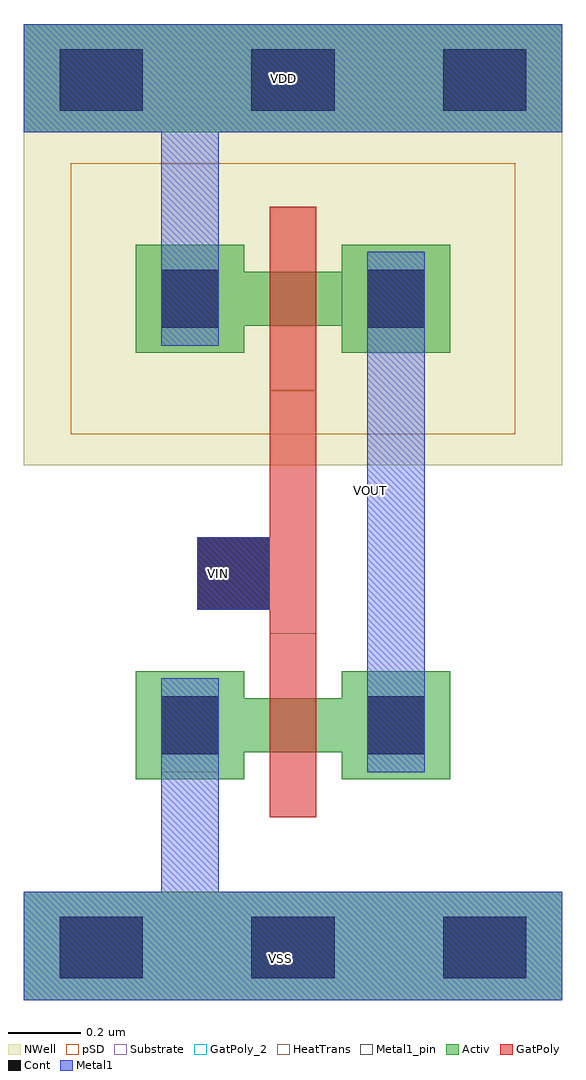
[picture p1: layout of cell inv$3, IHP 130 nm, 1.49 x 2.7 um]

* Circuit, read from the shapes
.subckt inv$3 VDD VIN VOUT VSS
XM1 VOUT VIN VSS VSS sg13_lv_nmos w=0.15u l=0.13u
XM2 VOUT VIN VDD VDD sg13_lv_pmos w=0.15u l=0.13u
.ends

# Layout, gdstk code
import gdstk
lib = gdstk.Library(unit=1e-6, precision=5e-09)
def R(c, l, rs):  # rectangles x0, y0, x1, y1
    for r in rs: c.add(gdstk.rectangle(r[:2], r[2:], *l))
Activ = (1, 0)
GatPoly = (5, 0)
GatPoly_2 = (5, 2)
Cont = (6, 0)
Metal1 = (8, 0)
Metal1_pin = (8, 2)
pSD = (14, 0)
NWell = (31, 0)
Substrate = (40, 0)
HeatTrans = (51, 0)

pmos_1_26 = lib.new_cell('pmos$1$26')
R(pmos_1_26, Activ, [(0,0,0.3,0.3), (0.57,0,0.87,0.3), (0,0.075,0.87,0.225)])
R(pmos_1_26, GatPoly, [(0.37,-0.105,0.5,0.405), (0.37,-0.105,0.5,0.405)])
R(pmos_1_26, Cont, [(0.07,0.07,0.23,0.23), (0.64,0.07,0.8,0.23)])
R(pmos_1_26, Metal1, [(0.07,0.02,0.23,0.28), (0.07,0.02,0.23,0.28), (0.64,0.02,0.8,0.28), (0.64,0.02,0.8,0.28)])
R(pmos_1_26, pSD, [(-0.18,-0.225,1.05,0.525)])
R(pmos_1_26, NWell, [(-0.31,-0.31,1.18,0.61)])
R(pmos_1_26, Substrate, [(0.57,0,0.87,0.3)])
R(pmos_1_26, HeatTrans, [(0.37,-0.105,0.5,0.405)])
pmos_1_26.add(gdstk.Label('pmos', (0.435,0.15), layer=63, texttype=0))
pmos_1_26.add(gdstk.Label('pmos', (0.435,0.15), layer=51, texttype=0))

nmos_1_18 = lib.new_cell('nmos$1$18')
R(nmos_1_18, Activ, [(0,0,0.3,0.3), (0.57,0,0.87,0.3), (0,0.075,0.87,0.225)])
R(nmos_1_18, GatPoly, [(0.37,-0.105,0.5,0.405)])
R(nmos_1_18, GatPoly_2, [(0.37,-0.105,0.5,0.405)])
R(nmos_1_18, Cont, [(0.07,0.07,0.23,0.23), (0.64,0.07,0.8,0.23)])
R(nmos_1_18, Metal1, [(0.07,0.02,0.23,0.28), (0.64,0.02,0.8,0.28)])
R(nmos_1_18, Metal1_pin, [(0.07,0.02,0.23,0.28), (0.64,0.02,0.8,0.28)])
R(nmos_1_18, HeatTrans, [(0.37,-0.105,0.5,0.405)])
nmos_1_18.add(gdstk.Label('nmos', (0.435,0.15), layer=63, texttype=0))
nmos_1_18.add(gdstk.Label('nmos', (0.435,0.15), layer=51, texttype=0))

pmos_1_1_14 = lib.new_cell('pmos$1$1$14')
R(pmos_1_1_14, Activ, [(0,0,0.3,0.3), (0.57,0,0.87,0.3), (0,0.075,0.87,0.225)])
R(pmos_1_1_14, GatPoly, [(0.37,-0.105,0.5,0.405), (0.37,-0.105,0.5,0.405)])
R(pmos_1_1_14, Cont, [(0.07,0.07,0.23,0.23), (0.64,0.07,0.8,0.23)])
R(pmos_1_1_14, Metal1, [(0.07,0.02,0.23,0.28), (0.07,0.02,0.23,0.28), (0.64,0.02,0.8,0.28), (0.64,0.02,0.8,0.28)])
R(pmos_1_1_14, pSD, [(-0.18,-0.225,1.05,0.525)])
R(pmos_1_1_14, NWell, [(-0.31,-0.31,1.18,0.61)])
R(pmos_1_1_14, Substrate, [(0.57,0,0.87,0.3)])
R(pmos_1_1_14, HeatTrans, [(0.37,-0.105,0.5,0.405)])
pmos_1_1_14.add(gdstk.Label('pmos', (0.435,0.15), layer=63, texttype=0))
pmos_1_1_14.add(gdstk.Label('pmos', (0.435,0.15), layer=51, texttype=0))

nmos_1_1_5 = lib.new_cell('nmos$1$1$5')
R(nmos_1_1_5, Activ, [(0,0,0.3,0.3), (0.57,0,0.87,0.3), (0,0.075,0.87,0.225)])
R(nmos_1_1_5, GatPoly, [(0.37,-0.105,0.5,0.405)])
R(nmos_1_1_5, GatPoly_2, [(0.37,-0.105,0.5,0.405)])
R(nmos_1_1_5, Cont, [(0.07,0.07,0.23,0.23), (0.64,0.07,0.8,0.23)])
R(nmos_1_1_5, Metal1, [(0.07,0.02,0.23,0.28), (0.64,0.02,0.8,0.28)])
R(nmos_1_1_5, Metal1_pin, [(0.07,0.02,0.23,0.28), (0.64,0.02,0.8,0.28)])
R(nmos_1_1_5, HeatTrans, [(0.37,-0.105,0.5,0.405)])
nmos_1_1_5.add(gdstk.Label('nmos', (0.435,0.15), layer=63, texttype=0))
nmos_1_1_5.add(gdstk.Label('nmos', (0.435,0.15), layer=51, texttype=0))

pmos_1_2_8 = lib.new_cell('pmos$1$2$8')
R(pmos_1_2_8, Activ, [(0,0,0.3,0.3), (0.57,0,0.87,0.3), (0,0.075,0.87,0.225)])
R(pmos_1_2_8, GatPoly, [(0.37,-0.105,0.5,0.405), (0.37,-0.105,0.5,0.405)])
R(pmos_1_2_8, Cont, [(0.07,0.07,0.23,0.23), (0.64,0.07,0.8,0.23)])
R(pmos_1_2_8, Metal1, [(0.07,0.02,0.23,0.28), (0.07,0.02,0.23,0.28), (0.64,0.02,0.8,0.28), (0.64,0.02,0.8,0.28)])
R(pmos_1_2_8, pSD, [(-0.18,-0.225,1.05,0.525)])
R(pmos_1_2_8, NWell, [(-0.31,-0.31,1.18,0.61)])
R(pmos_1_2_8, Substrate, [(0.57,0,0.87,0.3)])
R(pmos_1_2_8, HeatTrans, [(0.37,-0.105,0.5,0.405)])
pmos_1_2_8.add(gdstk.Label('pmos', (0.435,0.15), layer=63, texttype=0))
pmos_1_2_8.add(gdstk.Label('pmos', (0.435,0.15), layer=51, texttype=0))

nmos_3_9 = lib.new_cell('nmos$3$9')
R(nmos_3_9, Activ, [(0,0,0.3,0.3), (0.57,0,0.87,0.3), (0,0.075,0.87,0.225)])
R(nmos_3_9, GatPoly, [(0.37,-0.105,0.5,0.405)])
R(nmos_3_9, GatPoly_2, [(0.37,-0.105,0.5,0.405)])
R(nmos_3_9, Cont, [(0.07,0.07,0.23,0.23), (0.64,0.07,0.8,0.23)])
R(nmos_3_9, Metal1, [(0.07,0.02,0.23,0.28), (0.64,0.02,0.8,0.28)])
R(nmos_3_9, Metal1_pin, [(0.07,0.02,0.23,0.28), (0.64,0.02,0.8,0.28)])
R(nmos_3_9, HeatTrans, [(0.37,-0.105,0.5,0.405)])
nmos_3_9.add(gdstk.Label('nmos', (0.435,0.15), layer=63, texttype=0))
nmos_3_9.add(gdstk.Label('nmos', (0.435,0.15), layer=51, texttype=0))

pmos_1_1_1_4 = lib.new_cell('pmos$1$1$1$4')
R(pmos_1_1_1_4, Activ, [(0,0,0.3,0.3), (0.57,0,0.87,0.3), (0,0.075,0.87,0.225)])
R(pmos_1_1_1_4, GatPoly, [(0.37,-0.105,0.5,0.405), (0.37,-0.105,0.5,0.405)])
R(pmos_1_1_1_4, Cont, [(0.07,0.07,0.23,0.23), (0.64,0.07,0.8,0.23)])
R(pmos_1_1_1_4, Metal1, [(0.07,0.02,0.23,0.28), (0.07,0.02,0.23,0.28), (0.64,0.02,0.8,0.28), (0.64,0.02,0.8,0.28)])
R(pmos_1_1_1_4, pSD, [(-0.18,-0.225,1.05,0.525)])
R(pmos_1_1_1_4, NWell, [(-0.31,-0.31,1.18,0.61)])
R(pmos_1_1_1_4, Substrate, [(0.57,0,0.87,0.3)])
R(pmos_1_1_1_4, HeatTrans, [(0.37,-0.105,0.5,0.405)])
pmos_1_1_1_4.add(gdstk.Label('pmos', (0.435,0.15), layer=63, texttype=0))
pmos_1_1_1_4.add(gdstk.Label('pmos', (0.435,0.15), layer=51, texttype=0))

nmos_1_2_4 = lib.new_cell('nmos$1$2$4')
R(nmos_1_2_4, Activ, [(0,0,0.3,0.3), (0.57,0,0.87,0.3), (0,0.075,0.87,0.225)])
R(nmos_1_2_4, GatPoly, [(0.37,-0.105,0.5,0.405)])
R(nmos_1_2_4, GatPoly_2, [(0.37,-0.105,0.5,0.405)])
R(nmos_1_2_4, Cont, [(0.07,0.07,0.23,0.23), (0.64,0.07,0.8,0.23)])
R(nmos_1_2_4, Metal1, [(0.07,0.02,0.23,0.28), (0.64,0.02,0.8,0.28)])
R(nmos_1_2_4, Metal1_pin, [(0.07,0.02,0.23,0.28), (0.64,0.02,0.8,0.28)])
R(nmos_1_2_4, HeatTrans, [(0.37,-0.105,0.5,0.405)])
nmos_1_2_4.add(gdstk.Label('nmos', (0.435,0.15), layer=63, texttype=0))
nmos_1_2_4.add(gdstk.Label('nmos', (0.435,0.15), layer=51, texttype=0))

pmos_1_2_1_5 = lib.new_cell('pmos$1$2$1$5')
R(pmos_1_2_1_5, Activ, [(0,0,0.3,0.3), (0.57,0,0.87,0.3), (0,0.075,0.87,0.225)])
R(pmos_1_2_1_5, GatPoly, [(0.37,-0.105,0.5,0.405), (0.37,-0.105,0.5,0.405)])
R(pmos_1_2_1_5, Cont, [(0.07,0.07,0.23,0.23), (0.64,0.07,0.8,0.23)])
R(pmos_1_2_1_5, Metal1, [(0.07,0.02,0.23,0.28), (0.07,0.02,0.23,0.28), (0.64,0.02,0.8,0.28), (0.64,0.02,0.8,0.28)])
R(pmos_1_2_1_5, pSD, [(-0.18,-0.225,1.05,0.525)])
R(pmos_1_2_1_5, NWell, [(-0.31,-0.31,1.18,0.61)])
R(pmos_1_2_1_5, Substrate, [(0.57,0,0.87,0.3)])
R(pmos_1_2_1_5, HeatTrans, [(0.37,-0.105,0.5,0.405)])
pmos_1_2_1_5.add(gdstk.Label('pmos', (0.435,0.15), layer=63, texttype=0))
pmos_1_2_1_5.add(gdstk.Label('pmos', (0.435,0.15), layer=51, texttype=0))

nmos_2_1_4 = lib.new_cell('nmos$2$1$4')
R(nmos_2_1_4, Activ, [(0,0,0.3,0.3), (0.57,0,0.87,0.3), (0,0.075,0.87,0.225)])
R(nmos_2_1_4, GatPoly, [(0.37,-0.105,0.5,0.405)])
R(nmos_2_1_4, GatPoly_2, [(0.37,-0.105,0.5,0.405)])
R(nmos_2_1_4, Cont, [(0.07,0.07,0.23,0.23), (0.64,0.07,0.8,0.23)])
R(nmos_2_1_4, Metal1, [(0.07,0.02,0.23,0.28), (0.64,0.02,0.8,0.28)])
R(nmos_2_1_4, Metal1_pin, [(0.07,0.02,0.23,0.28), (0.64,0.02,0.8,0.28)])
R(nmos_2_1_4, HeatTrans, [(0.37,-0.105,0.5,0.405)])
nmos_2_1_4.add(gdstk.Label('nmos', (0.435,0.15), layer=63, texttype=0))
nmos_2_1_4.add(gdstk.Label('nmos', (0.435,0.15), layer=51, texttype=0))

pmos_1_1_1_1_3 = lib.new_cell('pmos$1$1$1$1$3')
R(pmos_1_1_1_1_3, Activ, [(0,0,0.3,0.3), (0.57,0,0.87,0.3), (0,0.075,0.87,0.225)])
R(pmos_1_1_1_1_3, GatPoly, [(0.37,-0.105,0.5,0.405), (0.37,-0.105,0.5,0.405)])
R(pmos_1_1_1_1_3, Cont, [(0.07,0.07,0.23,0.23), (0.64,0.07,0.8,0.23)])
R(pmos_1_1_1_1_3, Metal1, [(0.07,0.02,0.23,0.28), (0.07,0.02,0.23,0.28), (0.64,0.02,0.8,0.28), (0.64,0.02,0.8,0.28)])
R(pmos_1_1_1_1_3, pSD, [(-0.18,-0.225,1.05,0.525)])
R(pmos_1_1_1_1_3, NWell, [(-0.31,-0.31,1.18,0.61)])
R(pmos_1_1_1_1_3, Substrate, [(0.57,0,0.87,0.3)])
R(pmos_1_1_1_1_3, HeatTrans, [(0.37,-0.105,0.5,0.405)])
pmos_1_1_1_1_3.add(gdstk.Label('pmos', (0.435,0.15), layer=63, texttype=0))
pmos_1_1_1_1_3.add(gdstk.Label('pmos', (0.435,0.15), layer=51, texttype=0))

nmos_1_1_1_3 = lib.new_cell('nmos$1$1$1$3')
R(nmos_1_1_1_3, Activ, [(0,0,0.3,0.3), (0.57,0,0.87,0.3), (0,0.075,0.87,0.225)])
R(nmos_1_1_1_3, GatPoly, [(0.37,-0.105,0.5,0.405)])
R(nmos_1_1_1_3, GatPoly_2, [(0.37,-0.105,0.5,0.405)])
R(nmos_1_1_1_3, Cont, [(0.07,0.07,0.23,0.23), (0.64,0.07,0.8,0.23)])
R(nmos_1_1_1_3, Metal1, [(0.07,0.02,0.23,0.28), (0.64,0.02,0.8,0.28)])
R(nmos_1_1_1_3, Metal1_pin, [(0.07,0.02,0.23,0.28), (0.64,0.02,0.8,0.28)])
R(nmos_1_1_1_3, HeatTrans, [(0.37,-0.105,0.5,0.405)])
nmos_1_1_1_3.add(gdstk.Label('nmos', (0.435,0.15), layer=63, texttype=0))
nmos_1_1_1_3.add(gdstk.Label('nmos', (0.435,0.15), layer=51, texttype=0))

pmos_1_4_4 = lib.new_cell('pmos$1$4$4')
R(pmos_1_4_4, Activ, [(0,0,0.3,0.3), (0.57,0,0.87,0.3), (0,0.075,0.87,0.225)])
R(pmos_1_4_4, GatPoly, [(0.37,-0.105,0.5,0.405), (0.37,-0.105,0.5,0.405)])
R(pmos_1_4_4, Cont, [(0.07,0.07,0.23,0.23), (0.64,0.07,0.8,0.23)])
R(pmos_1_4_4, Metal1, [(0.07,0.02,0.23,0.28), (0.07,0.02,0.23,0.28), (0.64,0.02,0.8,0.28), (0.64,0.02,0.8,0.28)])
R(pmos_1_4_4, pSD, [(-0.18,-0.225,1.05,0.525)])
R(pmos_1_4_4, NWell, [(-0.31,-0.31,1.18,0.61)])
R(pmos_1_4_4, Substrate, [(0.57,0,0.87,0.3)])
R(pmos_1_4_4, HeatTrans, [(0.37,-0.105,0.5,0.405)])
pmos_1_4_4.add(gdstk.Label('pmos', (0.435,0.15), layer=63, texttype=0))
pmos_1_4_4.add(gdstk.Label('pmos', (0.435,0.15), layer=51, texttype=0))

nmos_4_5 = lib.new_cell('nmos$4$5')
R(nmos_4_5, Activ, [(0,0,0.3,0.3), (0.57,0,0.87,0.3), (0,0.075,0.87,0.225)])
R(nmos_4_5, GatPoly, [(0.37,-0.105,0.5,0.405)])
R(nmos_4_5, GatPoly_2, [(0.37,-0.105,0.5,0.405)])
R(nmos_4_5, Cont, [(0.07,0.07,0.23,0.23), (0.64,0.07,0.8,0.23)])
R(nmos_4_5, Metal1, [(0.07,0.02,0.23,0.28), (0.64,0.02,0.8,0.28)])
R(nmos_4_5, Metal1_pin, [(0.07,0.02,0.23,0.28), (0.64,0.02,0.8,0.28)])
R(nmos_4_5, HeatTrans, [(0.37,-0.105,0.5,0.405)])
nmos_4_5.add(gdstk.Label('nmos', (0.435,0.15), layer=63, texttype=0))
nmos_4_5.add(gdstk.Label('nmos', (0.435,0.15), layer=51, texttype=0))

pmos_1_1_2_3 = lib.new_cell('pmos$1$1$2$3')
R(pmos_1_1_2_3, Activ, [(0,0,0.3,0.3), (0.57,0,0.87,0.3), (0,0.075,0.87,0.225)])
R(pmos_1_1_2_3, GatPoly, [(0.37,-0.105,0.5,0.405), (0.37,-0.105,0.5,0.405)])
R(pmos_1_1_2_3, Cont, [(0.07,0.07,0.23,0.23), (0.64,0.07,0.8,0.23)])
R(pmos_1_1_2_3, Metal1, [(0.07,0.02,0.23,0.28), (0.07,0.02,0.23,0.28), (0.64,0.02,0.8,0.28), (0.64,0.02,0.8,0.28)])
R(pmos_1_1_2_3, pSD, [(-0.18,-0.225,1.05,0.525)])
R(pmos_1_1_2_3, NWell, [(-0.31,-0.31,1.18,0.61)])
R(pmos_1_1_2_3, Substrate, [(0.57,0,0.87,0.3)])
R(pmos_1_1_2_3, HeatTrans, [(0.37,-0.105,0.5,0.405)])
pmos_1_1_2_3.add(gdstk.Label('pmos', (0.435,0.15), layer=63, texttype=0))
pmos_1_1_2_3.add(gdstk.Label('pmos', (0.435,0.15), layer=51, texttype=0))

nmos_1_2_1_2 = lib.new_cell('nmos$1$2$1$2')
R(nmos_1_2_1_2, Activ, [(0,0,0.3,0.3), (0.57,0,0.87,0.3), (0,0.075,0.87,0.225)])
R(nmos_1_2_1_2, GatPoly, [(0.37,-0.105,0.5,0.405)])
R(nmos_1_2_1_2, GatPoly_2, [(0.37,-0.105,0.5,0.405)])
R(nmos_1_2_1_2, Cont, [(0.07,0.07,0.23,0.23), (0.64,0.07,0.8,0.23)])
R(nmos_1_2_1_2, Metal1, [(0.07,0.02,0.23,0.28), (0.64,0.02,0.8,0.28)])
R(nmos_1_2_1_2, Metal1_pin, [(0.07,0.02,0.23,0.28), (0.64,0.02,0.8,0.28)])
R(nmos_1_2_1_2, HeatTrans, [(0.37,-0.105,0.5,0.405)])
nmos_1_2_1_2.add(gdstk.Label('nmos', (0.435,0.15), layer=63, texttype=0))
nmos_1_2_1_2.add(gdstk.Label('nmos', (0.435,0.15), layer=51, texttype=0))

pmos_1_2_1_1_2 = lib.new_cell('pmos$1$2$1$1$2')
R(pmos_1_2_1_1_2, Activ, [(0,0,0.3,0.3), (0.57,0,0.87,0.3), (0,0.075,0.87,0.225)])
R(pmos_1_2_1_1_2, GatPoly, [(0.37,-0.105,0.5,0.405), (0.37,-0.105,0.5,0.405)])
R(pmos_1_2_1_1_2, Cont, [(0.07,0.07,0.23,0.23), (0.64,0.07,0.8,0.23)])
R(pmos_1_2_1_1_2, Metal1, [(0.07,0.02,0.23,0.28), (0.07,0.02,0.23,0.28), (0.64,0.02,0.8,0.28), (0.64,0.02,0.8,0.28)])
R(pmos_1_2_1_1_2, pSD, [(-0.18,-0.225,1.05,0.525)])
R(pmos_1_2_1_1_2, NWell, [(-0.31,-0.31,1.18,0.61)])
R(pmos_1_2_1_1_2, Substrate, [(0.57,0,0.87,0.3)])
R(pmos_1_2_1_1_2, HeatTrans, [(0.37,-0.105,0.5,0.405)])
pmos_1_2_1_1_2.add(gdstk.Label('pmos', (0.435,0.15), layer=63, texttype=0))
pmos_1_2_1_1_2.add(gdstk.Label('pmos', (0.435,0.15), layer=51, texttype=0))

nmos_2_1_1_2 = lib.new_cell('nmos$2$1$1$2')
R(nmos_2_1_1_2, Activ, [(0,0,0.3,0.3), (0.57,0,0.87,0.3), (0,0.075,0.87,0.225)])
R(nmos_2_1_1_2, GatPoly, [(0.37,-0.105,0.5,0.405)])
R(nmos_2_1_1_2, GatPoly_2, [(0.37,-0.105,0.5,0.405)])
R(nmos_2_1_1_2, Cont, [(0.07,0.07,0.23,0.23), (0.64,0.07,0.8,0.23)])
R(nmos_2_1_1_2, Metal1, [(0.07,0.02,0.23,0.28), (0.64,0.02,0.8,0.28)])
R(nmos_2_1_1_2, Metal1_pin, [(0.07,0.02,0.23,0.28), (0.64,0.02,0.8,0.28)])
R(nmos_2_1_1_2, HeatTrans, [(0.37,-0.105,0.5,0.405)])
nmos_2_1_1_2.add(gdstk.Label('nmos', (0.435,0.15), layer=63, texttype=0))
nmos_2_1_1_2.add(gdstk.Label('nmos', (0.435,0.15), layer=51, texttype=0))

pmos_1_3_7 = lib.new_cell('pmos$1$3$7')
R(pmos_1_3_7, Activ, [(0,0,0.3,0.3), (0.57,0,0.87,0.3), (0,0.075,0.87,0.225)])
R(pmos_1_3_7, GatPoly, [(0.37,-0.105,0.5,0.405), (0.37,-0.105,0.5,0.405)])
R(pmos_1_3_7, Cont, [(0.07,0.07,0.23,0.23), (0.64,0.07,0.8,0.23)])
R(pmos_1_3_7, Metal1, [(0.07,0.02,0.23,0.28), (0.07,0.02,0.23,0.28), (0.64,0.02,0.8,0.28), (0.64,0.02,0.8,0.28)])
R(pmos_1_3_7, pSD, [(-0.18,-0.225,1.05,0.525)])
R(pmos_1_3_7, NWell, [(-0.31,-0.31,1.18,0.61)])
R(pmos_1_3_7, Substrate, [(0.57,0,0.87,0.3)])
R(pmos_1_3_7, HeatTrans, [(0.37,-0.105,0.5,0.405)])
pmos_1_3_7.add(gdstk.Label('pmos', (0.435,0.15), layer=63, texttype=0))
pmos_1_3_7.add(gdstk.Label('pmos', (0.435,0.15), layer=51, texttype=0))

nmos_3_1_3 = lib.new_cell('nmos$3$1$3')
R(nmos_3_1_3, Activ, [(0,0,0.3,0.3), (0.57,0,0.87,0.3), (0,0.075,0.87,0.225)])
R(nmos_3_1_3, GatPoly, [(0.37,-0.105,0.5,0.405)])
R(nmos_3_1_3, GatPoly_2, [(0.37,-0.105,0.5,0.405)])
R(nmos_3_1_3, Cont, [(0.07,0.07,0.23,0.23), (0.64,0.07,0.8,0.23)])
R(nmos_3_1_3, Metal1, [(0.07,0.02,0.23,0.28), (0.64,0.02,0.8,0.28)])
R(nmos_3_1_3, Metal1_pin, [(0.07,0.02,0.23,0.28), (0.64,0.02,0.8,0.28)])
R(nmos_3_1_3, HeatTrans, [(0.37,-0.105,0.5,0.405)])
nmos_3_1_3.add(gdstk.Label('nmos', (0.435,0.15), layer=63, texttype=0))
nmos_3_1_3.add(gdstk.Label('nmos', (0.435,0.15), layer=51, texttype=0))

pmos_1_5_4 = lib.new_cell('pmos$1$5$4')
R(pmos_1_5_4, Activ, [(0,0,0.3,0.3), (0.57,0,0.87,0.3), (0,0.075,0.87,0.225)])
R(pmos_1_5_4, GatPoly, [(0.37,-0.105,0.5,0.405), (0.37,-0.105,0.5,0.405)])
R(pmos_1_5_4, Cont, [(0.07,0.07,0.23,0.23), (0.64,0.07,0.8,0.23)])
R(pmos_1_5_4, Metal1, [(0.07,0.02,0.23,0.28), (0.07,0.02,0.23,0.28), (0.64,0.02,0.8,0.28), (0.64,0.02,0.8,0.28)])
R(pmos_1_5_4, pSD, [(-0.18,-0.225,1.05,0.525)])
R(pmos_1_5_4, NWell, [(-0.31,-0.31,1.18,0.61)])
R(pmos_1_5_4, Substrate, [(0.57,0,0.87,0.3)])
R(pmos_1_5_4, HeatTrans, [(0.37,-0.105,0.5,0.405)])
pmos_1_5_4.add(gdstk.Label('pmos', (0.435,0.15), layer=63, texttype=0))
pmos_1_5_4.add(gdstk.Label('pmos', (0.435,0.15), layer=51, texttype=0))

nmos_9_2 = lib.new_cell('nmos$9$2')
R(nmos_9_2, Activ, [(0,0,0.3,0.3), (0.57,0,0.87,0.3), (0,0.075,0.87,0.225)])
R(nmos_9_2, GatPoly, [(0.37,-0.105,0.5,0.405)])
R(nmos_9_2, GatPoly_2, [(0.37,-0.105,0.5,0.405)])
R(nmos_9_2, Cont, [(0.07,0.07,0.23,0.23), (0.64,0.07,0.8,0.23)])
R(nmos_9_2, Metal1, [(0.07,0.02,0.23,0.28), (0.64,0.02,0.8,0.28)])
R(nmos_9_2, Metal1_pin, [(0.07,0.02,0.23,0.28), (0.64,0.02,0.8,0.28)])
R(nmos_9_2, HeatTrans, [(0.37,-0.105,0.5,0.405)])
nmos_9_2.add(gdstk.Label('nmos', (0.435,0.15), layer=63, texttype=0))
nmos_9_2.add(gdstk.Label('nmos', (0.435,0.15), layer=51, texttype=0))

pmos_1_6_3 = lib.new_cell('pmos$1$6$3')
R(pmos_1_6_3, Activ, [(0,0,0.3,0.3), (0.57,0,0.87,0.3), (0,0.075,0.87,0.225)])
R(pmos_1_6_3, GatPoly, [(0.37,-0.105,0.5,0.405), (0.37,-0.105,0.5,0.405)])
R(pmos_1_6_3, Cont, [(0.07,0.07,0.23,0.23), (0.64,0.07,0.8,0.23)])
R(pmos_1_6_3, Metal1, [(0.07,0.02,0.23,0.28), (0.07,0.02,0.23,0.28), (0.64,0.02,0.8,0.28), (0.64,0.02,0.8,0.28)])
R(pmos_1_6_3, pSD, [(-0.18,-0.225,1.05,0.525)])
R(pmos_1_6_3, NWell, [(-0.31,-0.31,1.18,0.61)])
R(pmos_1_6_3, Substrate, [(0.57,0,0.87,0.3)])
R(pmos_1_6_3, HeatTrans, [(0.37,-0.105,0.5,0.405)])
pmos_1_6_3.add(gdstk.Label('pmos', (0.435,0.15), layer=63, texttype=0))
pmos_1_6_3.add(gdstk.Label('pmos', (0.435,0.15), layer=51, texttype=0))

nmos_10_2 = lib.new_cell('nmos$10$2')
R(nmos_10_2, Activ, [(0,0,0.3,0.3), (0.57,0,0.87,0.3), (0,0.075,0.87,0.225)])
R(nmos_10_2, GatPoly, [(0.37,-0.105,0.5,0.405)])
R(nmos_10_2, GatPoly_2, [(0.37,-0.105,0.5,0.405)])
R(nmos_10_2, Cont, [(0.07,0.07,0.23,0.23), (0.64,0.07,0.8,0.23)])
R(nmos_10_2, Metal1, [(0.07,0.02,0.23,0.28), (0.64,0.02,0.8,0.28)])
R(nmos_10_2, Metal1_pin, [(0.07,0.02,0.23,0.28), (0.64,0.02,0.8,0.28)])
R(nmos_10_2, HeatTrans, [(0.37,-0.105,0.5,0.405)])
nmos_10_2.add(gdstk.Label('nmos', (0.435,0.15), layer=63, texttype=0))
nmos_10_2.add(gdstk.Label('nmos', (0.435,0.15), layer=51, texttype=0))

pmos_1_1_3_2 = lib.new_cell('pmos$1$1$3$2')
R(pmos_1_1_3_2, Activ, [(0,0,0.3,0.3), (0.57,0,0.87,0.3), (0,0.075,0.87,0.225)])
R(pmos_1_1_3_2, GatPoly, [(0.37,-0.105,0.5,0.405), (0.37,-0.105,0.5,0.405)])
R(pmos_1_1_3_2, Cont, [(0.07,0.07,0.23,0.23), (0.64,0.07,0.8,0.23)])
R(pmos_1_1_3_2, Metal1, [(0.07,0.02,0.23,0.28), (0.07,0.02,0.23,0.28), (0.64,0.02,0.8,0.28), (0.64,0.02,0.8,0.28)])
R(pmos_1_1_3_2, pSD, [(-0.18,-0.225,1.05,0.525)])
R(pmos_1_1_3_2, NWell, [(-0.31,-0.31,1.18,0.61)])
R(pmos_1_1_3_2, Substrate, [(0.57,0,0.87,0.3)])
R(pmos_1_1_3_2, HeatTrans, [(0.37,-0.105,0.5,0.405)])
pmos_1_1_3_2.add(gdstk.Label('pmos', (0.435,0.15), layer=63, texttype=0))
pmos_1_1_3_2.add(gdstk.Label('pmos', (0.435,0.15), layer=51, texttype=0))

nmos_1_3_2 = lib.new_cell('nmos$1$3$2')
R(nmos_1_3_2, Activ, [(0,0,0.3,0.3), (0.57,0,0.87,0.3), (0,0.075,0.87,0.225)])
R(nmos_1_3_2, GatPoly, [(0.37,-0.105,0.5,0.405)])
R(nmos_1_3_2, GatPoly_2, [(0.37,-0.105,0.5,0.405)])
R(nmos_1_3_2, Cont, [(0.07,0.07,0.23,0.23), (0.64,0.07,0.8,0.23)])
R(nmos_1_3_2, Metal1, [(0.07,0.02,0.23,0.28), (0.64,0.02,0.8,0.28)])
R(nmos_1_3_2, Metal1_pin, [(0.07,0.02,0.23,0.28), (0.64,0.02,0.8,0.28)])
R(nmos_1_3_2, HeatTrans, [(0.37,-0.105,0.5,0.405)])
nmos_1_3_2.add(gdstk.Label('nmos', (0.435,0.15), layer=63, texttype=0))
nmos_1_3_2.add(gdstk.Label('nmos', (0.435,0.15), layer=51, texttype=0))

pmos_1_7_2 = lib.new_cell('pmos$1$7$2')
R(pmos_1_7_2, Activ, [(0,0,0.3,0.3), (0.57,0,0.87,0.3), (0,0.075,0.87,0.225)])
R(pmos_1_7_2, GatPoly, [(0.37,-0.105,0.5,0.405), (0.37,-0.105,0.5,0.405)])
R(pmos_1_7_2, Cont, [(0.07,0.07,0.23,0.23), (0.64,0.07,0.8,0.23)])
R(pmos_1_7_2, Metal1, [(0.07,0.02,0.23,0.28), (0.07,0.02,0.23,0.28), (0.64,0.02,0.8,0.28), (0.64,0.02,0.8,0.28)])
R(pmos_1_7_2, pSD, [(-0.18,-0.225,1.05,0.525)])
R(pmos_1_7_2, NWell, [(-0.31,-0.31,1.18,0.61)])
R(pmos_1_7_2, Substrate, [(0.57,0,0.87,0.3)])
R(pmos_1_7_2, HeatTrans, [(0.37,-0.105,0.5,0.405)])
pmos_1_7_2.add(gdstk.Label('pmos', (0.435,0.15), layer=63, texttype=0))
pmos_1_7_2.add(gdstk.Label('pmos', (0.435,0.15), layer=51, texttype=0))

nmos_11_2 = lib.new_cell('nmos$11$2')
R(nmos_11_2, Activ, [(0,0,0.3,0.3), (0.57,0,0.87,0.3), (0,0.075,0.87,0.225)])
R(nmos_11_2, GatPoly, [(0.37,-0.105,0.5,0.405)])
R(nmos_11_2, GatPoly_2, [(0.37,-0.105,0.5,0.405)])
R(nmos_11_2, Cont, [(0.07,0.07,0.23,0.23), (0.64,0.07,0.8,0.23)])
R(nmos_11_2, Metal1, [(0.07,0.02,0.23,0.28), (0.64,0.02,0.8,0.28)])
R(nmos_11_2, Metal1_pin, [(0.07,0.02,0.23,0.28), (0.64,0.02,0.8,0.28)])
R(nmos_11_2, HeatTrans, [(0.37,-0.105,0.5,0.405)])
nmos_11_2.add(gdstk.Label('nmos', (0.435,0.15), layer=63, texttype=0))
nmos_11_2.add(gdstk.Label('nmos', (0.435,0.15), layer=51, texttype=0))

pmos_1_1_4_2 = lib.new_cell('pmos$1$1$4$2')
R(pmos_1_1_4_2, Activ, [(0,0,0.3,0.3), (0.57,0,0.87,0.3), (0,0.075,0.87,0.225)])
R(pmos_1_1_4_2, GatPoly, [(0.37,-0.105,0.5,0.405), (0.37,-0.105,0.5,0.405)])
R(pmos_1_1_4_2, Cont, [(0.07,0.07,0.23,0.23), (0.64,0.07,0.8,0.23)])
R(pmos_1_1_4_2, Metal1, [(0.07,0.02,0.23,0.28), (0.07,0.02,0.23,0.28), (0.64,0.02,0.8,0.28), (0.64,0.02,0.8,0.28)])
R(pmos_1_1_4_2, pSD, [(-0.18,-0.225,1.05,0.525)])
R(pmos_1_1_4_2, NWell, [(-0.31,-0.31,1.18,0.61)])
R(pmos_1_1_4_2, Substrate, [(0.57,0,0.87,0.3)])
R(pmos_1_1_4_2, HeatTrans, [(0.37,-0.105,0.5,0.405)])
pmos_1_1_4_2.add(gdstk.Label('pmos', (0.435,0.15), layer=63, texttype=0))
pmos_1_1_4_2.add(gdstk.Label('pmos', (0.435,0.15), layer=51, texttype=0))

nmos_1_4_2 = lib.new_cell('nmos$1$4$2')
R(nmos_1_4_2, Activ, [(0,0,0.3,0.3), (0.57,0,0.87,0.3), (0,0.075,0.87,0.225)])
R(nmos_1_4_2, GatPoly, [(0.37,-0.105,0.5,0.405)])
R(nmos_1_4_2, GatPoly_2, [(0.37,-0.105,0.5,0.405)])
R(nmos_1_4_2, Cont, [(0.07,0.07,0.23,0.23), (0.64,0.07,0.8,0.23)])
R(nmos_1_4_2, Metal1, [(0.07,0.02,0.23,0.28), (0.64,0.02,0.8,0.28)])
R(nmos_1_4_2, Metal1_pin, [(0.07,0.02,0.23,0.28), (0.64,0.02,0.8,0.28)])
R(nmos_1_4_2, HeatTrans, [(0.37,-0.105,0.5,0.405)])
nmos_1_4_2.add(gdstk.Label('nmos', (0.435,0.15), layer=63, texttype=0))
nmos_1_4_2.add(gdstk.Label('nmos', (0.435,0.15), layer=51, texttype=0))

pmos_1_2_2_2 = lib.new_cell('pmos$1$2$2$2')
R(pmos_1_2_2_2, Activ, [(0,0,0.3,0.3), (0.57,0,0.87,0.3), (0,0.075,0.87,0.225)])
R(pmos_1_2_2_2, GatPoly, [(0.37,-0.105,0.5,0.405), (0.37,-0.105,0.5,0.405)])
R(pmos_1_2_2_2, Cont, [(0.07,0.07,0.23,0.23), (0.64,0.07,0.8,0.23)])
R(pmos_1_2_2_2, Metal1, [(0.07,0.02,0.23,0.28), (0.07,0.02,0.23,0.28), (0.64,0.02,0.8,0.28), (0.64,0.02,0.8,0.28)])
R(pmos_1_2_2_2, pSD, [(-0.18,-0.225,1.05,0.525)])
R(pmos_1_2_2_2, NWell, [(-0.31,-0.31,1.18,0.61)])
R(pmos_1_2_2_2, Substrate, [(0.57,0,0.87,0.3)])
R(pmos_1_2_2_2, HeatTrans, [(0.37,-0.105,0.5,0.405)])
pmos_1_2_2_2.add(gdstk.Label('pmos', (0.435,0.15), layer=63, texttype=0))
pmos_1_2_2_2.add(gdstk.Label('pmos', (0.435,0.15), layer=51, texttype=0))

nmos_2_2_3 = lib.new_cell('nmos$2$2$3')
R(nmos_2_2_3, Activ, [(0,0,0.3,0.3), (0.57,0,0.87,0.3), (0,0.075,0.87,0.225)])
R(nmos_2_2_3, GatPoly, [(0.37,-0.105,0.5,0.405)])
R(nmos_2_2_3, GatPoly_2, [(0.37,-0.105,0.5,0.405)])
R(nmos_2_2_3, Cont, [(0.07,0.07,0.23,0.23), (0.64,0.07,0.8,0.23)])
R(nmos_2_2_3, Metal1, [(0.07,0.02,0.23,0.28), (0.64,0.02,0.8,0.28)])
R(nmos_2_2_3, Metal1_pin, [(0.07,0.02,0.23,0.28), (0.64,0.02,0.8,0.28)])
R(nmos_2_2_3, HeatTrans, [(0.37,-0.105,0.5,0.405)])
nmos_2_2_3.add(gdstk.Label('nmos', (0.435,0.15), layer=63, texttype=0))
nmos_2_2_3.add(gdstk.Label('nmos', (0.435,0.15), layer=51, texttype=0))

pmos_1_3_1_3 = lib.new_cell('pmos$1$3$1$3')
R(pmos_1_3_1_3, Activ, [(0,0,0.3,0.3), (0.57,0,0.87,0.3), (0,0.075,0.87,0.225)])
R(pmos_1_3_1_3, GatPoly, [(0.37,-0.105,0.5,0.405), (0.37,-0.105,0.5,0.405)])
R(pmos_1_3_1_3, Cont, [(0.07,0.07,0.23,0.23), (0.64,0.07,0.8,0.23)])
R(pmos_1_3_1_3, Metal1, [(0.07,0.02,0.23,0.28), (0.07,0.02,0.23,0.28), (0.64,0.02,0.8,0.28), (0.64,0.02,0.8,0.28)])
R(pmos_1_3_1_3, pSD, [(-0.18,-0.225,1.05,0.525)])
R(pmos_1_3_1_3, NWell, [(-0.31,-0.31,1.18,0.61)])
R(pmos_1_3_1_3, Substrate, [(0.57,0,0.87,0.3)])
R(pmos_1_3_1_3, HeatTrans, [(0.37,-0.105,0.5,0.405)])
pmos_1_3_1_3.add(gdstk.Label('pmos', (0.435,0.15), layer=63, texttype=0))
pmos_1_3_1_3.add(gdstk.Label('pmos', (0.435,0.15), layer=51, texttype=0))

nmos_3_2_2 = lib.new_cell('nmos$3$2$2')
R(nmos_3_2_2, Activ, [(0,0,0.3,0.3), (0.57,0,0.87,0.3), (0,0.075,0.87,0.225)])
R(nmos_3_2_2, GatPoly, [(0.37,-0.105,0.5,0.405)])
R(nmos_3_2_2, GatPoly_2, [(0.37,-0.105,0.5,0.405)])
R(nmos_3_2_2, Cont, [(0.07,0.07,0.23,0.23), (0.64,0.07,0.8,0.23)])
R(nmos_3_2_2, Metal1, [(0.07,0.02,0.23,0.28), (0.64,0.02,0.8,0.28)])
R(nmos_3_2_2, Metal1_pin, [(0.07,0.02,0.23,0.28), (0.64,0.02,0.8,0.28)])
R(nmos_3_2_2, HeatTrans, [(0.37,-0.105,0.5,0.405)])
nmos_3_2_2.add(gdstk.Label('nmos', (0.435,0.15), layer=63, texttype=0))
nmos_3_2_2.add(gdstk.Label('nmos', (0.435,0.15), layer=51, texttype=0))

inv_3 = lib.new_cell('inv$3')
R(inv_3, Activ, [(0.24,0.255,1.73,0.555), (0.24,0.255,1.73,0.555), (0.24,0.255,1.73,0.555), (0.24,0.255,1.73,0.555), (0.24,0.255,1.73,0.555), (0.24,0.255,1.73,0.555), (0.24,0.255,1.73,0.555), (0.24,0.255,1.73,0.555), (0.24,0.255,1.73,0.555), (0.24,0.255,1.73,0.555), (0.24,0.255,1.73,0.555), (0.24,0.255,1.73,0.555), (0.24,0.255,1.73,0.555), (0.24,0.255,1.73,0.555), (0.24,0.255,1.73,0.555), (0.24,0.255,1.73,0.555), (0.24,0.255,1.73,0.555), (0.24,2.655,1.73,2.955), (0.24,2.655,1.73,2.955), (0.24,2.655,1.73,2.955), (0.24,2.655,1.73,2.955), (0.24,2.655,1.73,2.955), (0.24,2.655,1.73,2.955), (0.24,2.655,1.73,2.955), (0.24,2.655,1.73,2.955), (0.24,2.655,1.73,2.955), (0.24,2.655,1.73,2.955), (0.24,2.655,1.73,2.955), (0.24,2.655,1.73,2.955), (0.24,2.655,1.73,2.955), (0.24,2.655,1.73,2.955), (0.24,2.655,1.73,2.955), (0.24,2.655,1.73,2.955), (0.24,2.655,1.73,2.955)])
R(inv_3, GatPoly, [(0.92,0.76,1.05,2.45), (0.92,0.76,1.05,2.45), (0.92,0.76,1.05,2.45), (0.92,0.76,1.05,2.45), (0.92,0.76,1.05,2.45), (0.92,0.76,1.05,2.45), (0.92,0.76,1.05,2.45), (0.92,0.76,1.05,2.45), (0.92,0.76,1.05,2.45), (0.92,0.76,1.05,2.45), (0.92,0.76,1.05,2.45), (0.92,0.76,1.05,2.45), (0.92,0.76,1.05,2.45), (0.92,0.76,1.05,2.45), (0.92,0.76,1.05,2.45), (0.92,0.76,1.05,2.45), (0.92,0.76,1.05,2.45), (0.72,1.335,0.92,1.535), (0.72,1.335,0.92,1.535), (0.72,1.335,0.92,1.535), (0.72,1.335,0.92,1.535), (0.72,1.335,0.92,1.535), (0.72,1.335,0.92,1.535), (0.72,1.335,0.92,1.535), (0.72,1.335,0.92,1.535), (0.72,1.335,0.92,1.535), (0.72,1.335,0.92,1.535), (0.72,1.335,0.92,1.535), (0.72,1.335,0.92,1.535), (0.72,1.335,0.92,1.535), (0.72,1.335,0.92,1.535), (0.72,1.335,0.92,1.535), (0.72,1.335,0.92,1.535), (0.72,1.335,0.92,1.535)])
R(inv_3, Cont, [(0.34,0.315,0.57,0.485), (0.34,0.315,0.57,0.485), (0.34,0.315,0.57,0.485), (0.34,0.315,0.57,0.485), (0.34,0.315,0.57,0.485), (0.34,0.315,0.57,0.485), (0.34,0.315,0.57,0.485), (0.34,0.315,0.57,0.485), (0.34,0.315,0.57,0.485), (0.34,0.315,0.57,0.485), (0.34,0.315,0.57,0.485), (0.34,0.315,0.57,0.485), (0.34,0.315,0.57,0.485), (0.34,0.315,0.57,0.485), (0.34,0.315,0.57,0.485), (0.34,0.315,0.57,0.485), (0.34,0.315,0.57,0.485), (0.87,0.315,1.1,0.485), (0.87,0.315,1.1,0.485), (0.87,0.315,1.1,0.485), (0.87,0.315,1.1,0.485), (0.87,0.315,1.1,0.485), (0.87,0.315,1.1,0.485), (0.87,0.315,1.1,0.485), (0.87,0.315,1.1,0.485), (0.87,0.315,1.1,0.485), (0.87,0.315,1.1,0.485), (0.87,0.315,1.1,0.485), (0.87,0.315,1.1,0.485), (0.87,0.315,1.1,0.485), (0.87,0.315,1.1,0.485), (0.87,0.315,1.1,0.485), (0.87,0.315,1.1,0.485), (0.87,0.315,1.1,0.485), (1.4,0.315,1.63,0.485), (1.4,0.315,1.63,0.485), (1.4,0.315,1.63,0.485), (1.4,0.315,1.63,0.485), (1.4,0.315,1.63,0.485), (1.4,0.315,1.63,0.485), (1.4,0.315,1.63,0.485), (1.4,0.315,1.63,0.485), (1.4,0.315,1.63,0.485), (1.4,0.315,1.63,0.485), (1.4,0.315,1.63,0.485), (1.4,0.315,1.63,0.485), (1.4,0.315,1.63,0.485), (1.4,0.315,1.63,0.485), (1.4,0.315,1.63,0.485), (1.4,0.315,1.63,0.485), (1.4,0.315,1.63,0.485), (0.72,1.335,0.92,1.535), (0.72,1.335,0.92,1.535), (0.72,1.335,0.92,1.535), (0.72,1.335,0.92,1.535), (0.72,1.335,0.92,1.535), (0.72,1.335,0.92,1.535), (0.72,1.335,0.92,1.535), (0.72,1.335,0.92,1.535), (0.72,1.335,0.92,1.535), (0.72,1.335,0.92,1.535), (0.72,1.335,0.92,1.535), (0.72,1.335,0.92,1.535), (0.72,1.335,0.92,1.535), (0.72,1.335,0.92,1.535), (0.72,1.335,0.92,1.535), (0.72,1.335,0.92,1.535), (0.72,1.335,0.92,1.535), (0.34,2.715,0.57,2.885), (0.34,2.715,0.57,2.885), (0.34,2.715,0.57,2.885), (0.34,2.715,0.57,2.885), (0.34,2.715,0.57,2.885), (0.34,2.715,0.57,2.885), (0.34,2.715,0.57,2.885), (0.34,2.715,0.57,2.885), (0.34,2.715,0.57,2.885), (0.34,2.715,0.57,2.885), (0.34,2.715,0.57,2.885), (0.34,2.715,0.57,2.885), (0.34,2.715,0.57,2.885), (0.34,2.715,0.57,2.885), (0.34,2.715,0.57,2.885), (0.34,2.715,0.57,2.885), (0.34,2.715,0.57,2.885), (0.87,2.715,1.1,2.885), (0.87,2.715,1.1,2.885), (0.87,2.715,1.1,2.885), (0.87,2.715,1.1,2.885), (0.87,2.715,1.1,2.885), (0.87,2.715,1.1,2.885), (0.87,2.715,1.1,2.885), (0.87,2.715,1.1,2.885), (0.87,2.715,1.1,2.885), (0.87,2.715,1.1,2.885), (0.87,2.715,1.1,2.885), (0.87,2.715,1.1,2.885), (0.87,2.715,1.1,2.885), (0.87,2.715,1.1,2.885), (0.87,2.715,1.1,2.885), (0.87,2.715,1.1,2.885), (0.87,2.715,1.1,2.885), (1.4,2.715,1.63,2.885), (1.4,2.715,1.63,2.885), (1.4,2.715,1.63,2.885), (1.4,2.715,1.63,2.885), (1.4,2.715,1.63,2.885), (1.4,2.715,1.63,2.885), (1.4,2.715,1.63,2.885), (1.4,2.715,1.63,2.885), (1.4,2.715,1.63,2.885), (1.4,2.715,1.63,2.885), (1.4,2.715,1.63,2.885), (1.4,2.715,1.63,2.885), (1.4,2.715,1.63,2.885), (1.4,2.715,1.63,2.885), (1.4,2.715,1.63,2.885), (1.4,2.715,1.63,2.885), (1.4,2.715,1.63,2.885)])
R(inv_3, Metal1, [(0.24,0.255,1.73,0.555), (0.24,0.255,1.73,0.555), (0.24,0.255,1.73,0.555), (0.24,0.255,1.73,0.555), (0.24,0.255,1.73,0.555), (0.24,0.255,1.73,0.555), (0.24,0.255,1.73,0.555), (0.24,0.255,1.73,0.555), (0.24,0.255,1.73,0.555), (0.24,0.255,1.73,0.555), (0.24,0.255,1.73,0.555), (0.24,0.255,1.73,0.555), (0.24,0.255,1.73,0.555), (0.24,0.255,1.73,0.555), (0.24,0.255,1.73,0.555), (0.24,0.255,1.73,0.555), (0.24,0.255,1.73,0.555), (0.62,0.255,0.78,1.145), (0.62,0.255,0.78,1.145), (0.62,0.255,0.78,1.145), (0.62,0.255,0.78,1.145), (0.62,0.255,0.78,1.145), (0.62,0.255,0.78,1.145), (0.62,0.255,0.78,1.145), (0.62,0.255,0.78,1.145), (0.62,0.255,0.78,1.145), (0.62,0.255,0.78,1.145), (0.62,0.255,0.78,1.145), (0.62,0.255,0.78,1.145), (0.62,0.255,0.78,1.145), (0.62,0.255,0.78,1.145), (0.62,0.255,0.78,1.145), (0.62,0.255,0.78,1.145), (0.62,0.255,0.78,1.145), (1.19,0.885,1.35,2.325), (1.19,0.885,1.35,2.325), (1.19,0.885,1.35,2.325), (1.19,0.885,1.35,2.325), (1.19,0.885,1.35,2.325), (1.19,0.885,1.35,2.325), (1.19,0.885,1.35,2.325), (1.19,0.885,1.35,2.325), (1.19,0.885,1.35,2.325), (1.19,0.885,1.35,2.325), (1.19,0.885,1.35,2.325), (1.19,0.885,1.35,2.325), (1.19,0.885,1.35,2.325), (1.19,0.885,1.35,2.325), (1.19,0.885,1.35,2.325), (1.19,0.885,1.35,2.325), (1.19,0.885,1.35,2.325), (0.72,1.335,0.92,1.535), (0.72,1.335,0.92,1.535), (0.72,1.335,0.92,1.535), (0.72,1.335,0.92,1.535), (0.72,1.335,0.92,1.535), (0.72,1.335,0.92,1.535), (0.72,1.335,0.92,1.535), (0.72,1.335,0.92,1.535), (0.72,1.335,0.92,1.535), (0.72,1.335,0.92,1.535), (0.72,1.335,0.92,1.535), (0.72,1.335,0.92,1.535), (0.72,1.335,0.92,1.535), (0.72,1.335,0.92,1.535), (0.72,1.335,0.92,1.535), (0.72,1.335,0.92,1.535), (0.72,1.335,0.92,1.535), (0.62,2.065,0.78,2.955), (0.62,2.065,0.78,2.955), (0.62,2.065,0.78,2.955), (0.62,2.065,0.78,2.955), (0.62,2.065,0.78,2.955), (0.62,2.065,0.78,2.955), (0.62,2.065,0.78,2.955), (0.62,2.065,0.78,2.955), (0.62,2.065,0.78,2.955), (0.62,2.065,0.78,2.955), (0.62,2.065,0.78,2.955), (0.62,2.065,0.78,2.955), (0.62,2.065,0.78,2.955), (0.62,2.065,0.78,2.955), (0.62,2.065,0.78,2.955), (0.62,2.065,0.78,2.955), (0.62,2.065,0.78,2.955), (0.24,2.655,1.73,2.955), (0.24,2.655,1.73,2.955), (0.24,2.655,1.73,2.955), (0.24,2.655,1.73,2.955), (0.24,2.655,1.73,2.955), (0.24,2.655,1.73,2.955), (0.24,2.655,1.73,2.955), (0.24,2.655,1.73,2.955), (0.24,2.655,1.73,2.955), (0.24,2.655,1.73,2.955), (0.24,2.655,1.73,2.955), (0.24,2.655,1.73,2.955), (0.24,2.655,1.73,2.955), (0.24,2.655,1.73,2.955), (0.24,2.655,1.73,2.955), (0.24,2.655,1.73,2.955), (0.24,2.655,1.73,2.955)])
R(inv_3, Metal1_pin, [(0.24,0.255,1.73,0.555), (0.24,0.255,1.73,0.555), (0.24,0.255,1.73,0.555), (0.24,0.255,1.73,0.555), (0.24,0.255,1.73,0.555), (0.24,0.255,1.73,0.555), (0.24,0.255,1.73,0.555), (0.24,0.255,1.73,0.555), (0.24,0.255,1.73,0.555), (0.24,0.255,1.73,0.555), (0.24,0.255,1.73,0.555), (0.24,0.255,1.73,0.555), (0.24,0.255,1.73,0.555), (0.24,0.255,1.73,0.555), (0.24,0.255,1.73,0.555), (0.24,0.255,1.73,0.555), (0.24,0.255,1.73,0.555), (1.19,0.885,1.35,2.325), (1.19,0.885,1.35,2.325), (1.19,0.885,1.35,2.325), (1.19,0.885,1.35,2.325), (1.19,0.885,1.35,2.325), (1.19,0.885,1.35,2.325), (1.19,0.885,1.35,2.325), (1.19,0.885,1.35,2.325), (1.19,0.885,1.35,2.325), (1.19,0.885,1.35,2.325), (1.19,0.885,1.35,2.325), (1.19,0.885,1.35,2.325), (1.19,0.885,1.35,2.325), (1.19,0.885,1.35,2.325), (1.19,0.885,1.35,2.325), (1.19,0.885,1.35,2.325), (1.19,0.885,1.35,2.325), (0.72,1.335,0.92,1.535), (0.72,1.335,0.92,1.535), (0.72,1.335,0.92,1.535), (0.72,1.335,0.92,1.535), (0.72,1.335,0.92,1.535), (0.72,1.335,0.92,1.535), (0.72,1.335,0.92,1.535), (0.72,1.335,0.92,1.535), (0.72,1.335,0.92,1.535), (0.72,1.335,0.92,1.535), (0.72,1.335,0.92,1.535), (0.72,1.335,0.92,1.535), (0.72,1.335,0.92,1.535), (0.72,1.335,0.92,1.535), (0.72,1.335,0.92,1.535), (0.72,1.335,0.92,1.535), (0.72,1.335,0.92,1.535), (0.24,2.655,1.73,2.955), (0.24,2.655,1.73,2.955), (0.24,2.655,1.73,2.955), (0.24,2.655,1.73,2.955), (0.24,2.655,1.73,2.955), (0.24,2.655,1.73,2.955), (0.24,2.655,1.73,2.955), (0.24,2.655,1.73,2.955), (0.24,2.655,1.73,2.955), (0.24,2.655,1.73,2.955), (0.24,2.655,1.73,2.955), (0.24,2.655,1.73,2.955), (0.24,2.655,1.73,2.955), (0.24,2.655,1.73,2.955), (0.24,2.655,1.73,2.955), (0.24,2.655,1.73,2.955), (0.24,2.655,1.73,2.955)])
R(inv_3, pSD, [(0.24,0.255,1.73,0.555), (0.24,0.255,1.73,0.555), (0.24,0.255,1.73,0.555), (0.24,0.255,1.73,0.555), (0.24,0.255,1.73,0.555), (0.24,0.255,1.73,0.555), (0.24,0.255,1.73,0.555), (0.24,0.255,1.73,0.555), (0.24,0.255,1.73,0.555), (0.24,0.255,1.73,0.555), (0.24,0.255,1.73,0.555), (0.24,0.255,1.73,0.555), (0.24,0.255,1.73,0.555), (0.24,0.255,1.73,0.555), (0.24,0.255,1.73,0.555), (0.24,0.255,1.73,0.555), (0.24,0.255,1.73,0.555)])
R(inv_3, NWell, [(0.24,2.655,1.73,2.955), (0.24,2.655,1.73,2.955), (0.24,2.655,1.73,2.955), (0.24,2.655,1.73,2.955), (0.24,2.655,1.73,2.955), (0.24,2.655,1.73,2.955), (0.24,2.655,1.73,2.955), (0.24,2.655,1.73,2.955), (0.24,2.655,1.73,2.955), (0.24,2.655,1.73,2.955), (0.24,2.655,1.73,2.955), (0.24,2.655,1.73,2.955), (0.24,2.655,1.73,2.955), (0.24,2.655,1.73,2.955), (0.24,2.655,1.73,2.955), (0.24,2.655,1.73,2.955), (0.24,2.655,1.73,2.955)])
inv_3.add(gdstk.Reference(pmos_1_26, (0.55,2.045)))
inv_3.add(gdstk.Reference(nmos_1_18, (0.55,0.865)))
inv_3.add(gdstk.Reference(pmos_1_1_14, (0.55,2.045)))
inv_3.add(gdstk.Reference(nmos_1_1_5, (0.55,0.865)))
inv_3.add(gdstk.Reference(pmos_1_2_8, (0.55,2.045)))
inv_3.add(gdstk.Reference(nmos_3_9, (0.55,0.865)))
inv_3.add(gdstk.Reference(pmos_1_1_1_4, (0.55,2.045)))
inv_3.add(gdstk.Reference(nmos_1_2_4, (0.55,0.865)))
inv_3.add(gdstk.Reference(pmos_1_2_1_5, (0.55,2.045)))
inv_3.add(gdstk.Reference(nmos_2_1_4, (0.55,0.865)))
inv_3.add(gdstk.Reference(pmos_1_1_1_1_3, (0.55,2.045)))
inv_3.add(gdstk.Reference(nmos_1_1_1_3, (0.55,0.865)))
inv_3.add(gdstk.Reference(pmos_1_4_4, (0.55,2.045)))
inv_3.add(gdstk.Reference(nmos_4_5, (0.55,0.865)))
inv_3.add(gdstk.Reference(pmos_1_1_2_3, (0.55,2.045)))
inv_3.add(gdstk.Reference(nmos_1_2_1_2, (0.55,0.865)))
inv_3.add(gdstk.Reference(pmos_1_2_1_1_2, (0.55,2.045)))
inv_3.add(gdstk.Reference(nmos_2_1_1_2, (0.55,0.865)))
inv_3.add(gdstk.Reference(pmos_1_3_7, (0.55,2.045)))
inv_3.add(gdstk.Reference(nmos_3_1_3, (0.55,0.865)))
inv_3.add(gdstk.Reference(pmos_1_5_4, (0.55,2.045)))
inv_3.add(gdstk.Reference(nmos_9_2, (0.55,0.865)))
inv_3.add(gdstk.Reference(pmos_1_6_3, (0.55,2.045)))
inv_3.add(gdstk.Reference(nmos_10_2, (0.55,0.865)))
inv_3.add(gdstk.Reference(pmos_1_1_3_2, (0.55,2.045)))
inv_3.add(gdstk.Reference(nmos_1_3_2, (0.55,0.865)))
inv_3.add(gdstk.Reference(pmos_1_7_2, (0.55,2.045)))
inv_3.add(gdstk.Reference(nmos_11_2, (0.55,0.865)))
inv_3.add(gdstk.Reference(pmos_1_1_4_2, (0.55,2.045)))
inv_3.add(gdstk.Reference(nmos_1_4_2, (0.55,0.865)))
inv_3.add(gdstk.Reference(pmos_1_2_2_2, (0.55,2.045)))
inv_3.add(gdstk.Reference(nmos_2_2_3, (0.55,0.865)))
inv_3.add(gdstk.Reference(pmos_1_3_1_3, (0.55,2.045)))
inv_3.add(gdstk.Reference(nmos_3_2_2, (0.55,0.865)))
inv_3.add(gdstk.Label('VIN', (0.78,1.435), layer=8, texttype=25))
inv_3.add(gdstk.Label('VSS', (0.95,0.37), layer=8, texttype=25))
inv_3.add(gdstk.Label('VOUT', (1.2,1.665), layer=8, texttype=25))
inv_3.add(gdstk.Label('VDD', (0.96,2.805), layer=8, texttype=25))
inv_3.add(gdstk.Label('VIN', (0.78,1.435), layer=8, texttype=25))
inv_3.add(gdstk.Label('VSS', (0.95,0.37), layer=8, texttype=25))
inv_3.add(gdstk.Label('VOUT', (1.2,1.665), layer=8, texttype=25))
inv_3.add(gdstk.Label('VDD', (0.96,2.805), layer=8, texttype=25))
inv_3.add(gdstk.Label('VIN', (0.78,1.435), layer=8, texttype=25))
inv_3.add(gdstk.Label('VSS', (0.95,0.37), layer=8, texttype=25))
inv_3.add(gdstk.Label('VOUT', (1.2,1.665), layer=8, texttype=25))
inv_3.add(gdstk.Label('VDD', (0.96,2.805), layer=8, texttype=25))
inv_3.add(gdstk.Label('VIN', (0.78,1.435), layer=8, texttype=25))
inv_3.add(gdstk.Label('VSS', (0.95,0.37), layer=8, texttype=25))
inv_3.add(gdstk.Label('VOUT', (1.2,1.665), layer=8, texttype=25))
inv_3.add(gdstk.Label('VDD', (0.96,2.805), layer=8, texttype=25))
inv_3.add(gdstk.Label('VIN', (0.78,1.435), layer=8, texttype=25))
inv_3.add(gdstk.Label('VSS', (0.95,0.37), layer=8, texttype=25))
inv_3.add(gdstk.Label('VOUT', (1.2,1.665), layer=8, texttype=25))
inv_3.add(gdstk.Label('VDD', (0.96,2.805), layer=8, texttype=25))
inv_3.add(gdstk.Label('VIN', (0.78,1.435), layer=8, texttype=25))
inv_3.add(gdstk.Label('VSS', (0.95,0.37), layer=8, texttype=25))
inv_3.add(gdstk.Label('VOUT', (1.2,1.665), layer=8, texttype=25))
inv_3.add(gdstk.Label('VDD', (0.96,2.805), layer=8, texttype=25))
inv_3.add(gdstk.Label('VIN', (0.78,1.435), layer=8, texttype=25))
inv_3.add(gdstk.Label('VSS', (0.95,0.37), layer=8, texttype=25))
inv_3.add(gdstk.Label('VOUT', (1.2,1.665), layer=8, texttype=25))
inv_3.add(gdstk.Label('VDD', (0.96,2.805), layer=8, texttype=25))
inv_3.add(gdstk.Label('VIN', (0.78,1.435), layer=8, texttype=25))
inv_3.add(gdstk.Label('VSS', (0.95,0.37), layer=8, texttype=25))
inv_3.add(gdstk.Label('VOUT', (1.2,1.665), layer=8, texttype=25))
inv_3.add(gdstk.Label('VDD', (0.96,2.805), layer=8, texttype=25))
inv_3.add(gdstk.Label('VIN', (0.78,1.435), layer=8, texttype=25))
inv_3.add(gdstk.Label('VSS', (0.95,0.37), layer=8, texttype=25))
inv_3.add(gdstk.Label('VOUT', (1.2,1.665), layer=8, texttype=25))
inv_3.add(gdstk.Label('VDD', (0.96,2.805), layer=8, texttype=25))
inv_3.add(gdstk.Label('VIN', (0.78,1.435), layer=8, texttype=25))
inv_3.add(gdstk.Label('VSS', (0.95,0.37), layer=8, texttype=25))
inv_3.add(gdstk.Label('VOUT', (1.2,1.665), layer=8, texttype=25))
inv_3.add(gdstk.Label('VDD', (0.96,2.805), layer=8, texttype=25))
inv_3.add(gdstk.Label('VIN', (0.78,1.435), layer=8, texttype=25))
inv_3.add(gdstk.Label('VSS', (0.95,0.37), layer=8, texttype=25))
inv_3.add(gdstk.Label('VOUT', (1.2,1.665), layer=8, texttype=25))
inv_3.add(gdstk.Label('VDD', (0.96,2.805), layer=8, texttype=25))
inv_3.add(gdstk.Label('VIN', (0.78,1.435), layer=8, texttype=25))
inv_3.add(gdstk.Label('VSS', (0.95,0.37), layer=8, texttype=25))
inv_3.add(gdstk.Label('VOUT', (1.2,1.665), layer=8, texttype=25))
inv_3.add(gdstk.Label('VDD', (0.96,2.805), layer=8, texttype=25))
inv_3.add(gdstk.Label('VIN', (0.78,1.435), layer=8, texttype=25))
inv_3.add(gdstk.Label('VSS', (0.95,0.37), layer=8, texttype=25))
inv_3.add(gdstk.Label('VOUT', (1.2,1.665), layer=8, texttype=25))
inv_3.add(gdstk.Label('VDD', (0.96,2.805), layer=8, texttype=25))
inv_3.add(gdstk.Label('VIN', (0.78,1.435), layer=8, texttype=25))
inv_3.add(gdstk.Label('VSS', (0.95,0.37), layer=8, texttype=25))
inv_3.add(gdstk.Label('VOUT', (1.2,1.665), layer=8, texttype=25))
inv_3.add(gdstk.Label('VDD', (0.96,2.805), layer=8, texttype=25))
inv_3.add(gdstk.Label('VIN', (0.78,1.435), layer=8, texttype=25))
inv_3.add(gdstk.Label('VSS', (0.95,0.37), layer=8, texttype=25))
inv_3.add(gdstk.Label('VOUT', (1.2,1.665), layer=8, texttype=25))
inv_3.add(gdstk.Label('VDD', (0.96,2.805), layer=8, texttype=25))
inv_3.add(gdstk.Label('VIN', (0.78,1.435), layer=8, texttype=25))
inv_3.add(gdstk.Label('VSS', (0.95,0.37), layer=8, texttype=25))
inv_3.add(gdstk.Label('VOUT', (1.2,1.665), layer=8, texttype=25))
inv_3.add(gdstk.Label('VDD', (0.96,2.805), layer=8, texttype=25))
inv_3.add(gdstk.Label('VIN', (0.78,1.435), layer=8, texttype=25))
inv_3.add(gdstk.Label('VSS', (0.95,0.37), layer=8, texttype=25))
inv_3.add(gdstk.Label('VOUT', (1.2,1.665), layer=8, texttype=25))
inv_3.add(gdstk.Label('VDD', (0.96,2.805), layer=8, texttype=25))

lib.write_gds('inv_3.gds')
